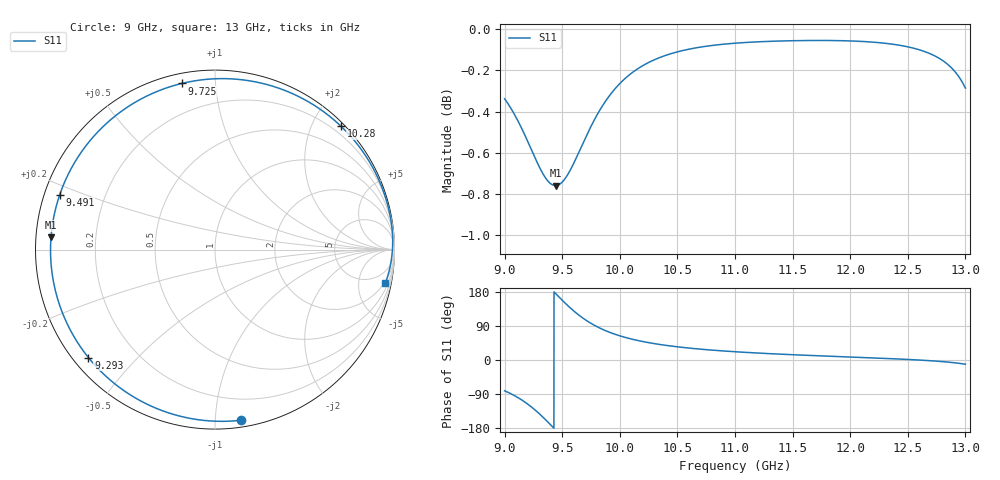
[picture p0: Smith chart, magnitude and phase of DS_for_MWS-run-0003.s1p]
! TOUCHSTONE file generated by CST DESIGN STUDIO
! Date and time: Tue Feb  4 13:46:32 2025
! Project name: C:\Work\MatlabApps\UnitCellOptimizationMatlab\CST\unitcell.cst
! Tree item: Tasks\Sweep1\SPara1\S-Parameters
! Header version: 2024
! Port assignment regex: !\s*Touchstone port\s*([0-9]+)\s*=\s*(CST MWS port|CST DES external port|CST DES block port)\s*(.+)\s* \(\"(.*)\"\)(\s*mode\s*([0-9]+))?.*
! Touchstone port assignment:
! Touchstone port 1 = CST DES external port 1 ("")
# GHz S MA R 50
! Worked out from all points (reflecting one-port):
!   4001 points, 9 GHz to 13 GHz, reference 50 ohm
!   lowest |S11| = -0.8 dB at 9.442 GHz (marker M1), VSWR 22.89, Z = 2.19 + j1.89 ohm
!   phase of S11 starts at -81 deg and turns -290 deg over the sweep
!   S11 on the Smith chart (normalised r, x): 9 GHz: 0.05, -1.17; 9.293 GHz: 0.04, -0.37; 9.491 GHz: 0.04, +0.17; 9.725 GHz: 0.05, +0.82; 10.28 GHz: 0.06, +2.45; 13 GHz: 2, -10
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9  0.9619 -81.2
9.091  0.9529 -94.9
9.164  0.9441 -108.5
9.23  0.9352 -123.3
9.293  0.9269 -139.5
9.335  0.9221 -151.5
9.372  0.9189 -162.6
9.407  0.9169 -173.4
9.442  0.9163 175.7
9.491  0.9176 160.5
9.5  0.9181 157.7
9.556  0.9227 141.3
9.61  0.929 126.9
9.665  0.9362 113.8
9.725  0.9441 101.3
9.787  0.9515 90.3
9.859  0.959 79.7
10  0.9701 63.8
10.127  0.977 53.5
10.276  0.9824 44.4
10.5  0.9875 34.8
10.723  0.9903 28.0
11  0.9923 21.8
11.5  0.9937 13.9
12  0.9935 7.9
12.5  0.9903 1.5
12.79  0.9832 -3.9
13  0.9677 -11.1
